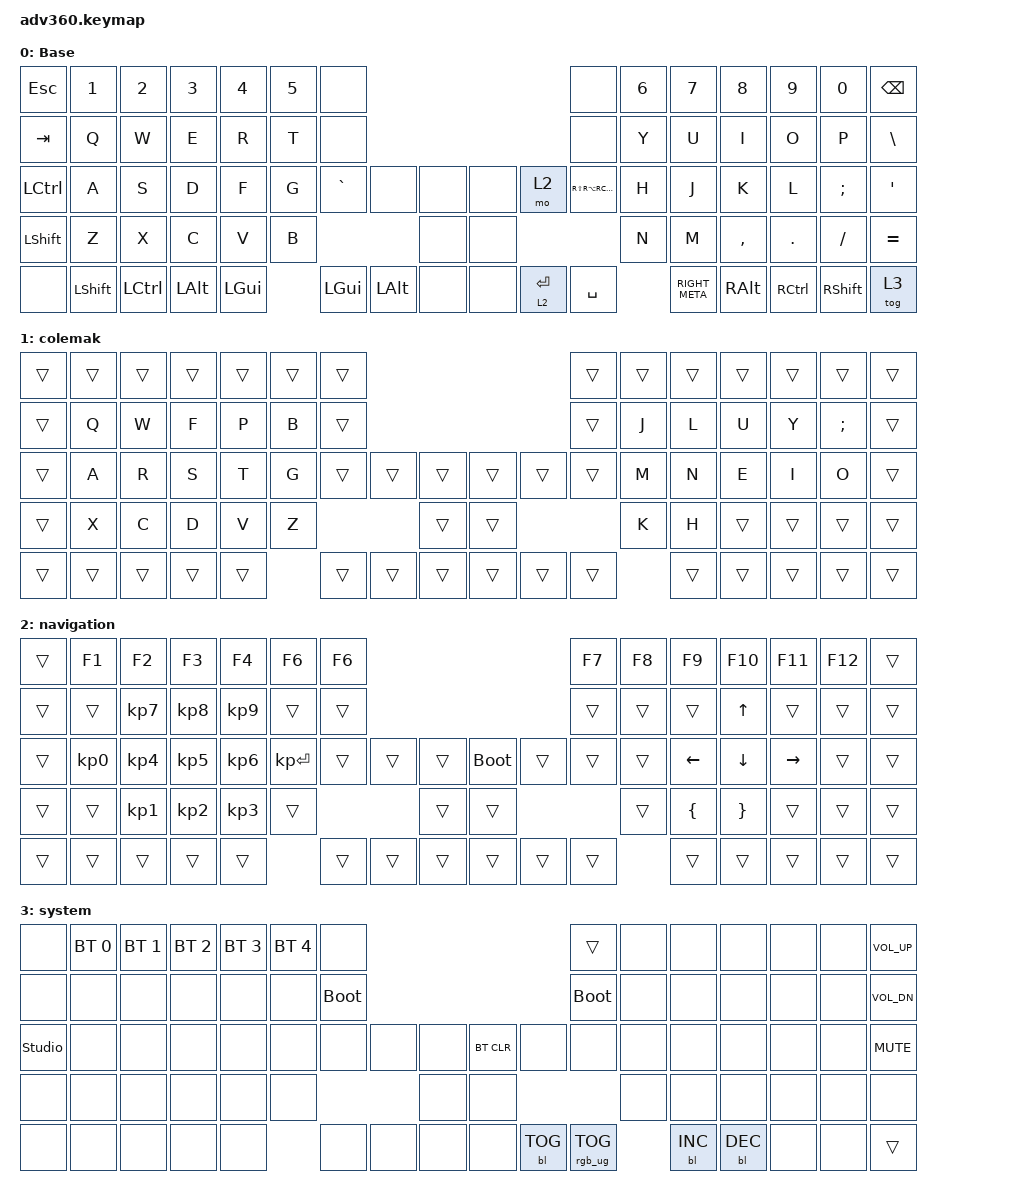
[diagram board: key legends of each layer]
#include <dt-bindings/zmk/stp.h>
#include <behaviors.dtsi>
#include <dt-bindings/zmk/backlight.h>
#include <dt-bindings/zmk/bt.h>
#include <dt-bindings/zmk/keys.h>
#include <dt-bindings/zmk/rgb.h>

/ {
    behaviors {
        #include "macros.dtsi"
      #include "version.dtsi"

        hm: homerow_mods {
            compatible = "zmk,behavior-hold-tap";
            label = "HOMEROW_MODS";
            #binding-cells = <2>;
            tapping-term-ms = <200>;
            quick_tap_ms = <175>;
            flavor = "tap-preferred";
            bindings = <&kp>, <&kp>;
        };

        colon_semicolon: colon_semicolon {
            compatible = "zmk,behavior-mod-morph";
            label = "COLON_SEMICOLON";
            bindings = <&kp COLON>, <&kp SEMI>;

            #binding-cells = <0>;
            mods = <(MOD_LSFT|MOD_RSFT)>;
        };

        thumb_mod: thumb_mod {
            compatible = "zmk,behavior-hold-tap";
            label = "THUMB_MOD";
            bindings = <&kp>, <&kp>;

            #binding-cells = <2>;
            tapping-term-ms = <50>;
            require-prior-idle-ms = <125>;
            flavor = "tap-preferred";
        };
    };

    combos {
        compatible = "zmk,combos";

        hyper_c {
            bindings = <&macro_hyper_c>;
            key-positions = <32 31>;
            timeout-ms = <20>;
        };

        hyper_s {
            bindings = <&macro_hyper_s>;
            key-positions = <30 31>;
            timeout-ms = <20>;
        };

        left_paren {
            bindings = <&kp LEFT_PARENTHESIS>;
            key-positions = <41 42>;
            timeout-ms = <20>;
        };

        right_paren {
            bindings = <&kp RIGHT_PARENTHESIS>;
            key-positions = <42 43>;
            timeout-ms = <20>;
        };

        left_brace {
            bindings = <&kp LEFT_BRACE>;
            key-positions = <23 24>;
            timeout-ms = <15>;
            layers = <6>;
        };

        right_brace {
            bindings = <&kp RIGHT_BRACE>;
            key-positions = <24 25>;
            timeout-ms = <15>;
            layers = <6>;
        };

        left_bracket {
            bindings = <&kp LEFT_BRACKET>;
            key-positions = <55 56>;
            timeout-ms = <20>;
        };

        right_bracket {
            bindings = <&kp RIGHT_BRACKET>;
            key-positions = <56 57>;
            timeout-ms = <20>;
        };

        arrow {
            bindings = <&macro_arrow>;
            key-positions = <12 13>;
            timeout-ms = <20>;
        };

        cut {
            bindings = <&kp LG(X)>;
            key-positions = <47 48>;
            timeout-ms = <15>;
            layers = <6>;
        };

        copy {
            bindings = <&kp LG(C)>;
            key-positions = <48 49>;
            timeout-ms = <15>;
            layers = <6>;
        };

        paste {
            bindings = <&kp LG(V)>;
            key-positions = <49 50>;
            timeout-ms = <15>;
            layers = <6>;
        };

        system_layer {
            bindings = <&tog 3>;
            key-positions = <60 75>;
        };

        minus {
            bindings = <&kp MINUS>;
            key-positions = <11 12>;
            timeout-ms = <20>;
        };

        underscore {
            bindings = <&kp UNDERSCORE>;
            key-positions = <25 26>;
            timeout-ms = <20>;
        };

        hyper_m {
            bindings = <&kp LS(LA(LC(LG(M))))>;
            key-positions = <32 30>;
        };
    };

    macros {
        macro_hyper_c: macro_hyper_c {
            compatible = "zmk,behavior-macro";
            #binding-cells = <0>;
            bindings = <&kp LS(LA(LC(LG(C))))>;
            label = "MACRO_HYPER_C";
        };

        macro_hyper_s: macro_hyper_s {
            compatible = "zmk,behavior-macro";
            #binding-cells = <0>;
            bindings = <&kp LS(LA(LC(LG(S))))>;
            label = "MACRO_HYPER_S";
        };

        macro_arrow: macro_arrow {
            compatible = "zmk,behavior-macro";
            #binding-cells = <0>;
            bindings = <&kp MINUS &kp GREATER_THAN>;
            label = "MACRO_ARROW";
        };
    };

    keymap {
        compatible = "zmk,keymap";

        qwerty {
            display-name = "Base";
            bindings = <
&kp ESCAPE        &kp NUMBER_1    &kp NUMBER_2      &kp NUMBER_3  &kp NUMBER_4  &kp N5  &none                                                       &none                      &kp NUMBER_6  &kp N7          &kp N8         &kp N9             &kp N0           &kp BACKSPACE
&kp TAB           &kp Q           &kp W             &kp E         &kp R         &kp T   &none                                                       &none                      &kp Y         &kp U           &kp I          &kp O              &kp P            &kp BSLH
&kp LEFT_CONTROL  &kp A           &kp S             &kp D         &kp F         &kp G   &kp GRAVE     &none         &none      &none  &mo 2         &kp RS(RA(RC(RIGHT_GUI)))  &kp H         &kp J           &kp K          &kp L              &kp SEMICOLON    &kp SQT
&kp LSHFT         &kp Z           &kp X             &kp C         &kp V         &kp B                               &none      &none                                           &kp N         &kp M           &kp COMMA      &kp DOT            &kp FSLH         &kp EQUAL
&none             &kp LEFT_SHIFT  &kp LEFT_CONTROL  &kp LEFT_ALT  &kp LEFT_GUI          &kp LEFT_GUI  &kp LEFT_ALT  &none      &none  &lt 2 RETURN  &kp SPACE                                &kp RIGHT_META  &kp RIGHT_ALT  &kp RIGHT_CONTROL  &kp RIGHT_SHIFT  &tog 3
            >;
        };

        colemak {
            bindings = <
&trans  &trans  &trans  &trans  &trans  &trans  &trans                                      &trans  &trans  &trans  &trans  &trans  &trans    &trans
&trans  &kp Q   &kp W   &kp F   &kp P   &kp B   &trans                                      &trans  &kp J   &kp L   &kp U   &kp Y   &kp SEMI  &trans
&trans  &kp A   &kp R   &kp S   &kp T   &kp G   &trans  &trans  &trans      &trans  &trans  &trans  &kp M   &kp N   &kp E   &kp I   &kp O     &trans
&trans  &kp X   &kp C   &kp D   &kp V   &kp Z                   &trans      &trans                  &kp K   &kp H   &trans  &trans  &trans    &trans
&trans  &trans  &trans  &trans  &trans          &trans  &trans  &trans      &trans  &trans  &trans          &trans  &trans  &trans  &trans    &trans
            >;
        };

        nav {
            display-name = "navigation";
            bindings = <
&trans  &kp F1     &kp F2           &kp F3           &kp F4           &kp F6        &kp F6                                           &kp F7  &kp F8  &kp F9          &kp F10          &kp F11    &kp F12  &trans
&trans  &trans     &kp KP_NUMBER_7  &kp KP_NUMBER_8  &kp KP_NUMBER_9  &trans        &trans                                           &trans  &trans  &trans          &kp UP_ARROW     &trans     &trans   &trans
&trans  &kp KP_N0  &kp KP_NUMBER_4  &kp KP_NUMBER_5  &kp KP_NUMBER_6  &kp KP_ENTER  &trans  &trans  &trans      &bootloader  &trans  &trans  &trans  &kp LEFT_ARROW  &kp DOWN_ARROW   &kp RIGHT  &trans   &trans
&trans  &trans     &kp KP_NUMBER_1  &kp KP_NUMBER_2  &kp KP_NUMBER_3  &trans                        &trans      &trans                       &trans  &kp LEFT_BRACE  &kp RIGHT_BRACE  &trans     &trans   &trans
&trans  &trans     &trans           &trans           &trans                         &trans  &trans  &trans      &trans       &trans  &trans          &trans          &trans           &trans     &trans   &trans
            >;
        };

        sys {
            display-name = "system";
            bindings = <
&none           &bt BT_SEL 0  &bt BT_SEL 1  &bt BT_SEL 2  &bt BT_SEL 3  &bt BT_SEL 4  &none                                                  &trans           &none  &none       &none       &none  &none  &kp C_VOLUME_UP
&none           &none         &none         &none         &none         &none         &bootloader                                            &bootloader      &none  &none       &none       &none  &none  &kp C_VOL_DN
&studio_unlock  &none         &none         &none         &none         &none         &none        &none  &none      &bt BT_CLR  &none       &none            &none  &none       &none       &none  &none  &kp K_MUTE
&none           &none         &none         &none         &none         &none                             &none      &none                                    &none  &none       &none       &none  &none  &none
&none           &none         &none         &none         &none                       &none        &none  &none      &none       &bl BL_TOG  &rgb_ug RGB_TOG         &bl BL_INC  &bl BL_DEC  &none  &none  &trans
            >;
        };

        extra2 {
            display-name = "Purple";
            status = "reserved";
        };

        extra3 {
            display-name = "Cyan";
            status = "reserved";
        };

        extra4 {
            display-name = "Yellow";
            status = "reserved";
        };
    };
};
